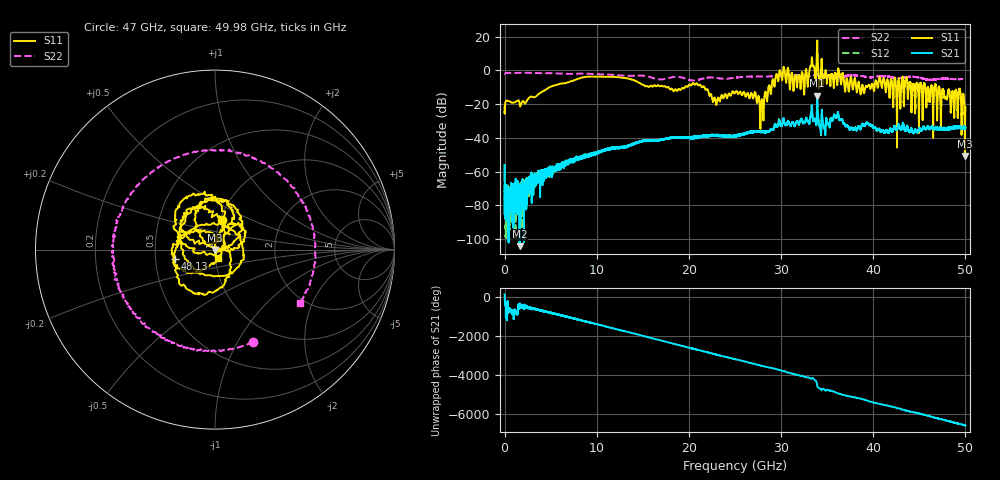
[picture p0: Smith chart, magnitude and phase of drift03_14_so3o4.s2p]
!Created with skrf (http://scikit-rf.org).
# Hz S RI R 50.0
!freq ReS11 ImS11 ReS21 ImS21 ReS12 ImS12 ReS22 ImS22
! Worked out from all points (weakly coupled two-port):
!   10001 points, 300 kHz to 50 GHz, reference 50 ohm
!   highest |S21| = -14.97 dB at 33.92 GHz (marker M1); lowest = -104.2 dB at 1.62 GHz (marker M2)
!   lowest |S11| = -50.7 dB at 49.95 GHz (marker M3), VSWR 1.01, Z = 49.8 - j0.161 ohm
!   |S11| at or under -10 dB: start of sweep to 4.848 GHz; 21.69 GHz to 28.62 GHz (6.933 GHz wide, 27.6 % of centre); 47.18 GHz to end of sweep (the widest 3 of 43)
!   |S22| runs from -5.9 to -1.3 dB; largest |S21 - S12| = 0.021
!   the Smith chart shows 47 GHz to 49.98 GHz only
!   S11 on the Smith chart (normalised r, x): 47 GHz: 1.02, +0.35; 48.13 GHz: 0.63, -0.07; 49.98 GHz: 1.02, -0.10
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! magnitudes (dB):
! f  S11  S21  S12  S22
! 300 kHz  -21.5  -56.1  -55.5  -2.1
! 260.3 MHz  -17.9  -69.4  -82.8  -1.4
! 1.62 GHz  -19.8  -104.2  -70.9  -1.4
! 8.335 GHz  -4.3  -50.7  -50.9  -1.9
! 16.67 GHz  -8.8  -41.2  -41.4  -5.2
! 21.01 GHz  -8.7  -39.4  -39.5  -5.5
! 22.81 GHz  -16.2  -38.5  -38.8  -4.3
! 25 GHz  -13.3  -39.2  -38.7  -4.3
! 27.02 GHz  -15.7  -36.3  -36.1  -3.5
! 27.91 GHz  -17.2  -36.2  -36.3  -3.5
! 29.69 GHz  -6.5  -32.1  -31.8  -3.1
! 32.32 GHz  -1.5  -30.5  -30.7  -3.3
! 33.34 GHz  7.7  -20.7  -21.0  -2.9
! 33.92 GHz  17.8  -15.0  -15.3  -2.5
! 38.81 GHz  -8.7  -31.6  -31.9  -3.4
! 41.67 GHz  -9.0  -37.0  -36.6  -3.7
! 42.76 GHz  -5.1  -32.2  -32.2  -4.5
! 47 GHz  -15.3  -35.0  -34.6  -5.1
! 48.13 GHz  -12.9  -34.0  -34.0  -4.8
! 49.95 GHz  -50.7  -33.5  -33.9  -5.1
! 49.98 GHz  -25.9  -33.7  -34.2  -5.1
! 50 GHz  -21.6  -34.3  -34.2  -5.0
